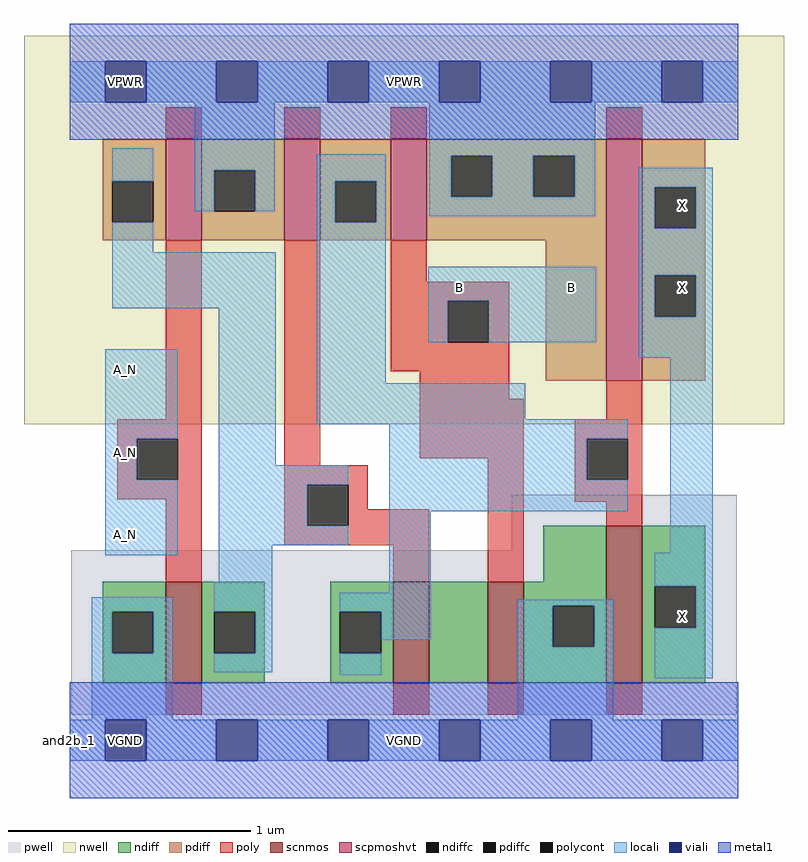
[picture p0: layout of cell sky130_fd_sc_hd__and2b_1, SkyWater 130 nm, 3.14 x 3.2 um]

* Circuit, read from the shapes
.subckt sky130_fd_sc_hd__and2b_1 A_N B VGND VNB VPB VPWR X
XM1 n1 A_N VGND VNB sky130_fd_pr__nfet_01v8 w=0.42 l=0.15
XM2 n2 n1 n3 VNB sky130_fd_pr__nfet_01v8 w=0.42 l=0.15
XM3 VGND B n2 VNB sky130_fd_pr__nfet_01v8 w=0.42 l=0.15
XM4 X n3 VGND VNB sky130_fd_pr__nfet_01v8 w=0.65 l=0.15
XM5 VPWR A_N n1 VPB sky130_fd_pr__pfet_01v8_hvt w=0.42 l=0.15
XM6 n3 n1 VPWR VPB sky130_fd_pr__pfet_01v8_hvt w=0.42 l=0.15
XM7 VPWR B n3 VPB sky130_fd_pr__pfet_01v8_hvt w=0.42 l=0.15
XM8 X n3 VPWR VPB sky130_fd_pr__pfet_01v8_hvt w=1 l=0.15
.ends

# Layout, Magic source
magic
tech sky130B
magscale 1 2
<< nwell >>
rect -38 261 590 582
<< pwell >>
rect 365 157 551 203
rect 1 21 551 157
rect 29 -17 63 21
<< scnmos >>
rect 79 47 109 131
rect 267 47 297 131
rect 345 47 375 131
rect 443 47 473 177
<< scpmoshvt >>
rect 79 413 109 497
rect 177 413 207 497
rect 265 413 295 497
rect 443 297 473 497
<< ndiff >>
rect 391 131 443 177
rect 27 106 79 131
rect 27 72 35 106
rect 69 72 79 106
rect 27 47 79 72
rect 109 106 161 131
rect 109 72 119 106
rect 153 72 161 106
rect 109 47 161 72
rect 215 106 267 131
rect 215 72 223 106
rect 257 72 267 106
rect 215 47 267 72
rect 297 47 345 131
rect 375 111 443 131
rect 375 77 399 111
rect 433 77 443 111
rect 375 47 443 77
rect 473 127 525 177
rect 473 93 483 127
rect 517 93 525 127
rect 473 47 525 93
<< pdiff >>
rect 27 462 79 497
rect 27 428 35 462
rect 69 428 79 462
rect 27 413 79 428
rect 109 471 177 497
rect 109 437 119 471
rect 153 437 177 471
rect 109 413 177 437
rect 207 462 265 497
rect 207 428 219 462
rect 253 428 265 462
rect 207 413 265 428
rect 295 483 443 497
rect 295 449 315 483
rect 349 449 383 483
rect 417 449 443 483
rect 295 413 443 449
rect 393 297 443 413
rect 473 457 525 497
rect 473 423 483 457
rect 517 423 525 457
rect 473 384 525 423
rect 473 350 483 384
rect 517 350 525 384
rect 473 297 525 350
<< ndiffc >>
rect 35 72 69 106
rect 119 72 153 106
rect 223 72 257 106
rect 399 77 433 111
rect 483 93 517 127
<< pdiffc >>
rect 35 428 69 462
rect 119 437 153 471
rect 219 428 253 462
rect 315 449 349 483
rect 383 449 417 483
rect 483 423 517 457
rect 483 350 517 384
<< poly >>
rect 79 497 109 523
rect 177 497 207 523
rect 265 497 295 523
rect 443 497 473 523
rect 79 265 109 413
rect 39 249 109 265
rect 39 215 55 249
rect 89 215 109 249
rect 39 199 109 215
rect 79 131 109 199
rect 177 227 207 413
rect 265 379 295 413
rect 265 363 363 379
rect 265 329 312 363
rect 346 329 363 363
rect 265 305 363 329
rect 289 282 363 305
rect 289 233 375 282
rect 443 265 473 297
rect 177 211 246 227
rect 177 177 196 211
rect 230 191 246 211
rect 230 177 297 191
rect 177 161 297 177
rect 267 131 297 161
rect 345 131 375 233
rect 417 249 473 265
rect 417 215 427 249
rect 461 215 473 249
rect 417 197 473 215
rect 443 177 473 197
rect 79 21 109 47
rect 267 21 297 47
rect 345 21 375 47
rect 443 21 473 47
<< polycont >>
rect 55 215 89 249
rect 312 329 346 363
rect 196 177 230 211
rect 427 215 461 249
<< locali >>
rect 0 527 29 561
rect 63 527 121 561
rect 155 527 213 561
rect 247 527 305 561
rect 339 527 397 561
rect 431 527 489 561
rect 523 527 552 561
rect 35 462 69 489
rect 103 471 169 527
rect 103 437 119 471
rect 153 437 169 471
rect 204 462 261 484
rect 35 403 69 428
rect 204 428 219 462
rect 253 428 261 462
rect 297 483 434 527
rect 297 449 315 483
rect 349 449 383 483
rect 417 449 434 483
rect 297 433 434 449
rect 470 457 531 473
rect 35 357 170 403
rect 29 249 89 323
rect 29 215 55 249
rect 29 153 89 215
rect 123 227 170 357
rect 204 295 261 428
rect 470 423 483 457
rect 517 423 531 457
rect 296 363 435 391
rect 296 329 312 363
rect 346 329 435 363
rect 470 384 531 423
rect 470 350 483 384
rect 517 350 531 384
rect 470 316 531 350
rect 204 265 376 295
rect 204 261 461 265
rect 264 249 461 261
rect 123 211 230 227
rect 123 177 196 211
rect 123 161 230 177
rect 264 215 427 249
rect 264 189 461 215
rect 123 131 167 161
rect 18 106 85 118
rect 18 72 35 106
rect 69 72 85 106
rect 18 17 85 72
rect 119 106 167 131
rect 264 122 298 189
rect 496 155 531 316
rect 153 72 167 106
rect 119 56 167 72
rect 223 106 298 122
rect 483 127 531 155
rect 257 83 298 106
rect 370 111 449 116
rect 223 54 257 72
rect 370 77 399 111
rect 433 77 449 111
rect 370 17 449 77
rect 517 93 531 127
rect 483 51 531 93
rect 0 -17 29 17
rect 63 -17 121 17
rect 155 -17 213 17
rect 247 -17 305 17
rect 339 -17 397 17
rect 431 -17 489 17
rect 523 -17 552 17
<< viali >>
rect 29 527 63 561
rect 121 527 155 561
rect 213 527 247 561
rect 305 527 339 561
rect 397 527 431 561
rect 489 527 523 561
rect 29 -17 63 17
rect 121 -17 155 17
rect 213 -17 247 17
rect 305 -17 339 17
rect 397 -17 431 17
rect 489 -17 523 17
<< metal1 >>
rect 0 561 552 592
rect 0 527 29 561
rect 63 527 121 561
rect 155 527 213 561
rect 247 527 305 561
rect 339 527 397 561
rect 431 527 489 561
rect 523 527 552 561
rect 0 496 552 527
rect 0 17 552 48
rect 0 -17 29 17
rect 63 -17 121 17
rect 155 -17 213 17
rect 247 -17 305 17
rect 339 -17 397 17
rect 431 -17 489 17
rect 523 -17 552 17
rect 0 -48 552 -17
<< labels >>
flabel locali s 489 357 523 391 0 FreeSans 200 0 0 0 X
port 7 nsew signal output
flabel locali s 29 289 63 323 0 FreeSans 400 0 0 0 A_N
port 1 nsew signal input
flabel locali s 29 153 63 187 0 FreeSans 400 0 0 0 A_N
port 1 nsew signal input
flabel locali s 305 357 339 391 0 FreeSans 400 0 0 0 B
port 2 nsew signal input
flabel locali s 489 85 523 119 0 FreeSans 200 0 0 0 X
port 7 nsew signal output
flabel locali s 29 221 63 255 0 FreeSans 400 0 0 0 A_N
port 1 nsew signal input
flabel locali s 397 357 431 391 0 FreeSans 400 0 0 0 B
port 2 nsew signal input
flabel locali s 489 425 523 459 0 FreeSans 200 0 0 0 X
port 7 nsew signal output
flabel metal1 s 29 -17 63 17 0 FreeSans 200 0 0 0 VGND
port 3 nsew ground bidirectional abutment
flabel metal1 s 29 527 63 561 0 FreeSans 200 0 0 0 VPWR
port 6 nsew power bidirectional abutment
flabel nwell s 29 527 63 561 0 FreeSans 200 0 0 0 VPB
port 5 nsew power bidirectional
flabel pwell s 29 -17 63 17 0 FreeSans 200 0 0 0 VNB
port 4 nsew ground bidirectional
rlabel comment s 0 0 0 0 4 and2b_1
rlabel metal1 s 0 -48 552 48 1 VGND
port 3 nsew ground bidirectional abutment
rlabel metal1 s 0 496 552 592 1 VPWR
port 6 nsew power bidirectional abutment
<< properties >>
string FIXED_BBOX 0 0 552 544
string GDS_END 3816392
string GDS_FILE $PDKPATH/libs.ref/sky130_fd_sc_hd/gds/sky130_fd_sc_hd.gds
string GDS_START 3810916
string LEFclass CORE
string LEFsite unithd
string LEFsymmetry X Y R90
string path 0.000 13.600 13.800 13.600 
<< end >>
